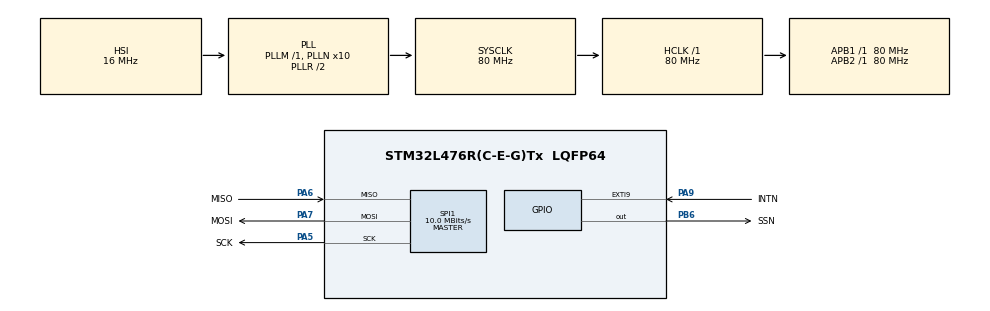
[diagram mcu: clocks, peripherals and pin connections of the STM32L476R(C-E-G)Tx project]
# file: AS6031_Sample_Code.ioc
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Mcu.Family=STM32L4
Mcu.Name=STM32L476R(C-E-G)Tx
Mcu.Package=LQFP64
NVIC.EXTI9_5_IRQn=true\:0\:0\:false\:false\:true\:true\:true\:true
NVIC.PriorityGroup=NVIC_PRIORITYGROUP_4
PA13\ (JTMS-SWDIO).GPIO_Label=TMS
PA13\ (JTMS-SWDIO).Mode=Serial_Wire
PA13\ (JTMS-SWDIO).Signal=SYS_JTMS-SWDIO
PA14\ (JTCK-SWCLK).GPIO_Label=TCK
PA14\ (JTCK-SWCLK).Mode=Serial_Wire
PA14\ (JTCK-SWCLK).Signal=SYS_JTCK-SWCLK
PA5.GPIO_Label=SCK
PA5.GPIO_PuPd=GPIO_PULLDOWN
PA5.GPIO_Speed=GPIO_SPEED_FREQ_HIGH
PA5.Mode=Full_Duplex_Master
PA5.Signal=SPI1_SCK
PA6.GPIO_Label=MISO
PA6.GPIO_PuPd=GPIO_PULLDOWN
PA6.GPIO_Speed=GPIO_SPEED_FREQ_HIGH
PA6.Mode=Full_Duplex_Master
PA6.Signal=SPI1_MISO
PA7.GPIO_Label=MOSI
PA7.GPIO_PuPd=GPIO_PULLDOWN
PA7.GPIO_Speed=GPIO_SPEED_FREQ_HIGH
PA7.Mode=Full_Duplex_Master
PA7.Signal=SPI1_MOSI
PA9.GPIO_Label=INTN
PA9.GPIO_ModeDefaultEXTI=GPIO_MODE_IT_RISING_FALLING
PA9.GPIO_PuPd=GPIO_NOPULL
PA9.Signal=GPXTI9
PB3\ (JTDO-TRACESWO).GPIO_Label=SWO
PB3\ (JTDO-TRACESWO).Signal=SYS_JTDO-SWO
PB6.GPIO_FM6=__NULL
PB6.GPIO_Label=SSN
PB6.GPIO_PuPd=GPIO_PULLUP
PB6.GPIO_Speed=GPIO_SPEED_FREQ_HIGH
PB6.PinState=GPIO_PIN_SET
PB6.Signal=GPIO_Output
ProjectManager.HeapSize=0x200
ProjectManager.StackSize=0x400
ProjectManager.TargetToolchain=STM32CubeIDE
RCC.ADCFreq_Value=64000000
RCC.AHBFreq_Value=80000000
RCC.APB1Freq_Value=80000000
RCC.APB1TimFreq_Value=80000000
RCC.APB2Freq_Value=80000000
RCC.APB2TimFreq_Value=80000000
RCC.CortexFreq_Value=80000000
RCC.HCLKFreq_Value=80000000
RCC.HSE_VALUE=8000000
RCC.HSI_VALUE=16000000
RCC.LSE_VALUE=32768
RCC.MSI_VALUE=4000000
RCC.PLLN=10
RCC.PLLSourceVirtual=RCC_PLLSOURCE_HSI
RCC.PREFETCH_ENABLE=1
RCC.SYSCLKFreq_VALUE=80000000
RCC.SYSCLKSource=RCC_SYSCLKSOURCE_PLLCLK
RCC.USBFreq_Value=64000000
RCC.VCOOutputFreq_Value=160000000
SPI1.BaudRatePrescaler=SPI_BAUDRATEPRESCALER_8
SPI1.CLKPhase=SPI_PHASE_2EDGE
SPI1.CalculateBaudRate=10.0 MBits/s
SPI1.DataSize=SPI_DATASIZE_8BIT
SPI1.Direction=SPI_DIRECTION_2LINES
SPI1.Mode=SPI_MODE_MASTER
SPI1.TIMode=SPI_TIMODE_DISABLE
SPI1.VirtualType=VM_MASTER
board=NUCLEO-L476RG

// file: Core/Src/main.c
/* USER CODE BEGIN Header */
/**
  ******************************************************************************
  * @file           : main.c
  * @brief          : Main program body
  ******************************************************************************
  * @attention
  *
  * Copyright (c) 2023 STMicroelectronics.
  * All rights reserved.
  *
  * This software is licensed under terms that can be found in the LICENSE file
  * in the root directory of this software component.
  * If no LICENSE file comes with this software, it is provided AS-IS.
  *
  ******************************************************************************
  */
/* USER CODE END Header */
#include "main.h"

/* USER CODE BEGIN Includes */
#include "user_spi_interface.c"
#include "user_tools.c"

#include "AS6031_Coding.h"

/* USER CODE END Includes */

SPI_HandleTypeDef hspi1;

/* USER CODE BEGIN PV */
AS6031_InitTypeDef DUT; // DUT = Device Under Test

volatile uint32_t  My_INTN_Counter = 0;
volatile uint8_t   My_INTN_State = 1;

volatile int value = 0;
volatile int addr = 0xC0;

volatile float     CLKLS_freq = 32768;             // LS Clock frequency in Hz
volatile float     CLKHS_freq = 4000000;           // HS Clock frequency in Hz
volatile float     CLKHS_freq_cal = 4000000;       // Calibrated HS Clock frequency in Hz
volatile float     CLKHS_freq_corr_fact = 1.000;   // Correction factor for HS Clock frequency

volatile float     RAW_Result = 0;                 // RAW Value in [LSB]
volatile float     Time_Result = 0;                // Result in [s]
volatile float     Time_Result_ns = 0;             // Result in [ns]

volatile float     RAW_CAL_Result = 0;             // RAW Value in [LSB]
volatile float     Time_CAL_Result = 0;            // Result in [s]
volatile float     Time_CAL_Result_ns = 0;         // Result in [ns]

uint8_t   spiRX[7];                       // used for readout of ID
volatile uint64_t  Bit_ID = 0;                     // contains individual ID[55:0] of GP22

volatile float     MAX_Cal_Time_Delay = 0;         // Max. measured calibrated time delay in [s]
volatile float     MAX_Cal_Time_Delay_ns = 0;      // Max. measured calibrated time delay in [ns]

volatile int       N_Measure_Cycles;               // counter for the while loop
volatile int       MAX_N_Measure_Cycles = 100;     // limit for the counter

// Configuration: using plastic spool piece plastic Audiowell New-Design, V-Shape
uint32_t  Reg[20] = {
		0x48DBA399,	// [0xC0] CR_WD_DIS
		0x00800401,	// [0xC1] CR_IFC_CTRL
		0x00111111,	// [0xC2] CR_GP_CTRL
		0x00000001,	// [0xC3] CR_USM_OPT
		0x010703FF,	// [0xC4] CR_IEH
		0x60060C08,	// [0xC5] CR_CPM
		0x01012100,	// [0xC6] CR_MRG_TS
		0x00240000,	// [0xC7] CR_TPM
		0x00680064,	// [0xC8] CR_USM_PRC
		0x60160202,	// [0xC9] CR_USM_FRC
		0x000FEA10,	// [0xCA] CR_USM_TOF
		0x00A7DE81,	// [0xCB] CR_USM_AM
		0x94A0C46C,	// [0xCC] CR_TRIM1
		0x401100C4,	// [0xCD] CR_TRIM2
		0x00A7400F,	// [0xCE] CR_TRIM3
		0x00000001,	// [0xD0] SHR_TOF_RATE
		0x00000D80,	// [0xD1] SHR_USM_RLS_DLY_U
		0x00000D80,	// [0xD2] SHR_USM_RLS_DLY_D
		0x00000041,	// [0xDA] SHR_ZCD_FHL_U
		0x00000041	// [0xDB] SHR_ZCD_FHL_D
};

// Configuration: using plastic spool piece plastic DN8
uint32_t  Reg2[20] = {
		0x48DBA399,	// [0xC0] CR_WD_DIS
		0x00800401,	// [0xC1] CR_IFC_CTRL
		0x00000000,	// [0xC2] CR_GP_CTRL
		0x00000001,	// [0xC3] CR_USM_OPT
		0x0011F7FF,	// [0xC4] CR_IEH
		0x6046EE08,	// [0xC5] CR_CPM
		0x01012100,	// [0xC6] CR_MRG_TS
		0x00E40000,	// [0xC7] CR_TPM
		0x04690564,	// [0xC8] CR_USM_PRC
		0x601E0202,	// [0xC9] CR_USM_FRC
		0x010FEA4E,	// [0xCA] CR_USM_TOF
		0x2320DE61,	// [0xCB] CR_USM_AM
		0x94A0C46C,	// [0xCC] CR_TRIM1
		0x401100C4,	// [0xCD] CR_TRIM2
		0x00A7400F,	// [0xCE] CR_TRIM3
		0x00000001,	// [0xD0] SHR_TOF_RATE
		0x00000ED8,	// [0xD1] SHR_USM_RLS_DLY_U
		0x00000ED8,	// [0xD2] SHR_USM_RLS_DLY_D
		0x00000028,	// [0xDA] SHR_ZCD_FHL_U
		0x00000028	// [0xDB] SHR_ZCD_FHL_D
};

// Firmware Code: <AS6031_AS6040_A1.F1.11.01_DIF_over_PI_sim.hex>
uint8_t FWC[] = {
		0x00, 0x00, 0x00, 0x00, 0x00, 0x00, 0x00, 0x00, 0x00, 0x00, 0x00, 0x00, 0x00, 0x00, 0x00, 0x00,
		0x00, 0x00, 0x00, 0x00, 0x00, 0x00, 0x00, 0x00, 0x00, 0x00, 0x00, 0x00, 0x00, 0x00, 0x00, 0x00,
		0xA1, 0xF1, 0x11, 0x01, 0xF2, 0xDC, 0x61, 0x1B, 0x64, 0x16, 0xF2, 0xDC, 0x61, 0x13, 0x64, 0x31,
		0xF2, 0xDC, 0x61, 0x23, 0x64, 0x2E, 0xF2, 0xDC, 0x61, 0x2B, 0x64, 0x76, 0xC9, 0x01, 0x1D, 0xF2,
		0xE2, 0x61, 0x37, 0xC9, 0x01, 0x1D, 0xB8, 0x77, 0xF2, 0x80, 0x2D, 0xF2, 0x84, 0x37, 0x7D, 0xCA,
		0x00, 0x66, 0xF2, 0xC1, 0x61, 0x43, 0xCA, 0xF9, 0x11, 0xF2, 0xDD, 0xF1, 0xAB, 0xC9, 0x01, 0x1D,
		0xC9, 0x01, 0x1D, 0xC9, 0x01, 0x1D, 0xF2, 0x80, 0x77, 0xF2, 0x84, 0x7B, 0x88, 0x73, 0xCB, 0x74,
		0xF2, 0xA5, 0x7D, 0x76, 0x88, 0x73, 0xCB, 0x74, 0xF2, 0xA6, 0x7D, 0xF2, 0xA6, 0x73, 0xF2, 0xA5,
		0x33, 0x87, 0x7C, 0xF3, 0x03, 0x77, 0x34, 0x71, 0xF3, 0x05, 0x0F, 0x4B, 0x13, 0x5D, 0x73, 0xF3,
		0x04, 0x13, 0x4D, 0x73, 0xF2, 0x5E, 0x77, 0xCB, 0x54, 0xCA, 0xFD, 0x67, 0x75, 0x3B, 0x9A, 0xCA,
		0x00, 0xCB, 0x54, 0xCA, 0xFD, 0x67, 0xF3, 0x02, 0x77, 0xCB, 0x54, 0xCA, 0xFD, 0x67, 0x82, 0x7C,
		0xCF, 0xF3, 0x67, 0x73, 0xF2, 0xD1, 0x7C, 0xF2, 0xD2, 0x7C, 0xF2, 0x5F, 0x7F, 0x00, 0x3D, 0x09,
		0x00, 0xF2, 0x5E, 0x7F, 0x00, 0x00, 0x04, 0x31, 0xF2, 0xC5, 0x62, 0x03, 0xF2, 0x5F, 0xD3, 0xF2,
		0xC5, 0x62, 0x03, 0xF2, 0x5E, 0xC3, 0xF2, 0xCA, 0x73, 0xCB, 0x80, 0x00, 0x00, 0x1F, 0x00, 0xCE,
		0x70, 0x88, 0x7C, 0xF2, 0xC6, 0x73, 0xCB, 0x80, 0x00, 0x00, 0x1F, 0xFF, 0x09, 0xCB, 0xA5, 0x00,
		0x00, 0x00, 0x1F, 0xF2, 0xD0, 0x7B, 0xCB, 0x86, 0xCB, 0x54, 0xCE, 0x58, 0xF2, 0xE3, 0x63, 0x47,
		0x75, 0x00, 0x01, 0x06, 0x24, 0xCB, 0x54, 0xCA, 0xFD, 0x67, 0xF2, 0x9E, 0x7C, 0xF3, 0x5B, 0x73,
		0xF3, 0x5C, 0x77, 0xF2, 0x9E, 0x7B, 0xCA, 0xF3, 0x1C, 0x8A, 0x7C, 0x64, 0x01, 0xF2, 0xDC, 0x0B,
		0xCD
};

int FWC_Length = sizeof(FWC);  // Calculates the size of the array in bytes.

/* USER CODE END PV */

void SystemClock_Config(void);
static void MX_GPIO_Init(void);
static void MX_SPI1_Init(void);

int main(void)
{

  /* MCU Configuration--------------------------------------------------------*/

  /* Reset of all peripherals, Initializes the Flash interface and the Systick. */
  HAL_Init();

  /* Configure the system clock */
  SystemClock_Config();

  /* Initialize all configured peripherals */
  MX_GPIO_Init();
  MX_SPI1_Init();
  /* USER CODE BEGIN 2 */

  /* PIN Assignment of STM32L476:
   * SPI1_MOSI PA7
   * SPI1_MISO PA6
   * SPI1_SCK  PA5
   * SPI1_SSN  PB6
   *
   * INTN      PA9
   */

/*
  // Set configuration registers
  DUT.CR[0] = 0xF3076010;
  DUT.CR[1] = 0x01410032;
  DUT.CR[2] = 0xA0000054;
  DUT.CR[3] = 0x00000076;
  DUT.CR[4] = 0x10000098;
  DUT.CR[5] = 0x000000BA;
  DUT.CR[6] = 0x400000DC;

  AS6031_Update_Param(&DUT);
*/

  AS6031_Init_CFG(&DUT, Reg);

  // Reset DUT
  Write_Opcode(RC_SYS_RST);
  DUT.State = AS6031_STATE_RESET;

  HAL_Delay(3); // Datasheet -> Delay = 1ms... BUT at least 3ms are needed _MH

  // Write Configuration (0xC0 - 0xCE, 0xD0 - 0xD2, 0xDA - 0xDB)
  int offset = 0;
  int i, j = 0;

  for (i = 0; i <= 19; i++) {
	  if (i == 0) {
		  offset = 0xC0;
		  j = 0;
	  }
	  if (i == 15) {
		  offset = 0xD0;
		  j = 0;
	  }
	  if (i == 18) {
		  offset = 0xDA;
		  j = 0;
	  }
	  Write_Dword(RC_RAA_WR, (offset+j), DUT.CR[i]);
	  j++;
  }

  Write_Opcode(RC_MCT_ON);

/*
  for (i = 0; i < 200; i++) {
	  // update CR9 register with new parameter
	  DUT.Param.CR9.FBG_CLK_DIV = (addr);
	  AS6031_Update_CFG(&DUT); // Function to update CFG for uploading into DUT!

	  Write_Dword(RC_RAA_WR, 0xC9, DUT.CR[9]); // Write Register into AS6031!
	  i++;
  }
*/

/*
  // update CR5 register with new parameter
  DUT.Param.CR5.HSC_DIV_MODE = 1; // Recommended setting for 8MHz
  DUT.Param.CR5.HSC_DIV = 1; // Recommended setting for 8MHz

  AS6031_Update_CFG(&DUT); // Function to update CFG for uploading into DUT!

  Write_Dword(RC_RAA_WR, 0xC5, DUT.CR[5]); // Write Register into AS6031!
*/

  // FW Handling Procedures
  // Datasheet Appendix, section 15.7
  // Phase 1: Wait time (dependent on start option)
  // Phase 2: Preparation (common for all procedures)
  // Phase 3: FW Update (different for procedures [A], [B], [C], [D] )
  // Phase 4: FW Retention Check (common for all procedures)

  // Phase1: Initial Wait Time
  Write_Opcode(RC_SYS_RST);
  DUT.State = AS6031_STATE_RESET;

  HAL_Delay(3);

  // Phase 2: Preparation
  Write_Opcode(RC_BM_REQ);
  Write_Dword(RC_RAA_WR, 0xC0, 0x48DBA399);
  Write_Dword(RC_RAA_WR, 0xCD, 0x40100000);
  Write_Dword(RC_RAA_WR, 0xC6, 0x00001000);
  Write_Opcode(RC_SV_INIT);
  Write_Opcode(RC_MCT_OFF);
  HAL_Delay(1);
  Write_Opcode2(RC_MT_REQ, 0x00);
  HAL_Delay(1);
  Write_Dword(RC_RAA_WR, 0xDD, 0x00000007);
  Write_Opcode(RC_RF_CLR);
  Write_Dword(RC_RAA_WR, 0xC4, 0x000AF000);
  Write_Opcode(RC_BM_RLS);

  Write_Dword(RC_RAA_WR, 0xDF, 0x50F5B8CA);
  Write_Dword(RC_RAA_WR, 0xDE, 0x00100000);
  while(Read_Dword_Bits(RC_RAA_RD, 0xE0, 1, 1) == 0) {};
  Write_Dword(RC_RAA_WR, 0xDE, 0x00080000);
  while(Read_Dword_Bits(RC_RAA_RD, 0xE0, 1, 1) == 0) {};

  // Phase 3: FW Update
  Read_Dword(RC_RAA_RD, 0xEC);

  // Write FWC
  for (i = 32; i <= FWC_Length; i++) {
	  Write_Byte2(RC_FWC_WR, i, FWC[i]);  // Writing FWC, bytewise with two byte address
  }

  // Write FWD
  Write_Dword(RC_RAA_WR_NVRAM, 0x00, 0x0000AB6A); // Writing Firmware Code User, Checksum
  Write_Dword(RC_RAA_WR_NVRAM, 0x01, 0x00000556); // Writing Firmware Data User, Checksum
  Write_Dword(RC_RAA_WR_NVRAM, 0x02, 0x00010000); // Writing FWD_SIMPLE_SCALE (fd16)
  Write_Dword(RC_RAA_WR_NVRAM, 0x03, 0x00000000); // Writing FWD_ZERO_OFFSET
  Write_Dword(RC_RAA_WR_NVRAM, 0x04, 0x051EB852); // Writing FWD_MAX_TOF_DIFF
  Write_Dword(RC_RAA_WR_NVRAM, 0x05, 0xFAE147AE); // Writing FWD_NEG_TOF_DIFF_LIMIT

  Write_Dword(RC_RAA_WR_NVRAM, 0x5B, 0x0000000A); // Writing FWD_R_PULSE_PER_LITER
  Write_Dword(RC_RAA_WR_NVRAM, 0x5C, 0x000003E8); // Writing FWD_R_PULSE_MAX_FLOW

  Write_Dword(RC_RAA_WR_NVRAM, 0x67, 0x00000000); // Writing FWD_USM_RLS_DLY_INIT

  Write_Dword(RC_RAA_WR_NVRAM, 0x6B, 0xABCD7654); // Writing Boot-Loader Release Code

  // Update Config 0x6C ... 0x77 in NVRAM
  // without CR_TRIMx and without SHR_...
  //Write_Dword(RC_RAA_WR_NVRAM, 0x6C, 0x48DBA399); // CR_WD_DIS Watchdog Disable
  //Write_Dword(RC_RAA_WR_NVRAM, 0x6D, 0x00800101); // CR_IFC_CTRL Interfaces Control
  //Write_Dword(RC_RAA_WR_NVRAM, 0x6E, 0x00100044); // CR_GP_CTRL General Purpose Control
  //Write_Dword(RC_RAA_WR_NVRAM, 0x6F, 0x20000003); // CR_USM_OPT USM Options
  //Write_Dword(RC_RAA_WR_NVRAM, 0x70, 0x001002A7); // CR_IEH Interrupt & Error Handling
  //Write_Dword(RC_RAA_WR_NVRAM, 0x71, 0x2046EE08); // CR_CPM Clock & Power Management
  //Write_Dword(RC_RAA_WR_NVRAM, 0x72, 0x0101A080); // CR_MRG_TS Measure Rate Generator & Task Sequencer
  //Write_Dword(RC_RAA_WR_NVRAM, 0x73, 0x00140000); // CR_TPM Temperature Measurement
  //Write_Dword(RC_RAA_WR_NVRAM, 0x74, 0x207807A4); // CR_USM_PRC USM Processing
  //Write_Dword(RC_RAA_WR_NVRAM, 0x75, 0x60150202); // CR_USM_FRC USM Fire & Receive Control
  //Write_Dword(RC_RAA_WR_NVRAM, 0x76, 0x00002A0E); // CR_USM_TOF Time Of Flight Rate init value
  //Write_Dword(RC_RAA_WR_NVRAM, 0x77, 0x23209E71); // CR_USM_AM Amplitude and FHL

  Write_Dword(RC_RAA_WR, 0xDF, 0x50F5B8CA);
  Write_Dword(RC_RAA_WR, 0xDE, 0x00010000);
  while(Read_Dword_Bits(RC_RAA_RD, 0xE0, 1, 1) == 0) {};

  // Phase 4: FW Retention Check
  Write_Dword(RC_RAA_WR, 0xDF, 0x50F5B8CA);
  Write_Dword(RC_RAA_WR, 0xDE, 0x00100000);
  while(Read_Dword_Bits(RC_RAA_RD, 0xE0, 1, 1) == 0) {};
  Write_Dword(RC_RAA_WR, 0xDE, 0x00080000);
  while(Read_Dword_Bits(RC_RAA_RD, 0xE0, 1, 1) == 0) {};
  Write_Dword(RC_RAA_WR,  0xD3, 0x0007F000);
  HAL_Delay(offset); // After initialization checksum error flags, delay of at least 34ms are needed _MH
  Write_Opcode(RC_FW_CHKSUM);
  while(Read_Dword_Bits(RC_RAA_RD, 0xE0, 3, 3) == 0) {};
  Read_Dword(RC_RAA_RD, 0xD3);

  // END
  Write_Opcode(RC_SYS_RST);

  /* USER CODE END 2 */

  /* Infinite loop */
  while (1)
  {

    /* USER CODE BEGIN 3 */
	  N_Measure_Cycles++;

	  // Wait for INTN
	  // NVIC Functionality to increase the speed of MCU
	  while ( (My_INTN_State==1)) { }; //timeout is missing

	  // Post Processing

	  //RAW_Result = Read_Dword(RC_RAA_RD, 0x80);  // FDB_US_TOF_SUM_OF_ALL_U
	  //RAW_Result = Read_Dword(RC_RAA_RD, 0x84);  // FDB_US_TOF_SUM_OF_ALL_D
	  //RAW_Result /= DUT.Param.CR10.TOF_HIT_SUM_NO;  // Divided by number of hits

	  RAW_Result = Read_Dword(RC_RAA_RD, 0x88);  // FDB_US_TOF_0_U

	  RAW_Result /= 65536;  //divided by 2^16
	  Time_Result = RAW_Result * 250 *(1e-9);

	  Time_Result_ns = TIME_ns(Time_Result); // result in [ns]

	  // Clear INTN
	  Write_Opcode(RC_IF_CLR);

	  HAL_Delay(50); // used for debugging

  }
  /* USER CODE END 3 */
}

void SystemClock_Config(void)
{
  RCC_OscInitTypeDef RCC_OscInitStruct = {0};
  RCC_ClkInitTypeDef RCC_ClkInitStruct = {0};

  /** Configure the main internal regulator output voltage
  */
  if (HAL_PWREx_ControlVoltageScaling(PWR_REGULATOR_VOLTAGE_SCALE1) != HAL_OK)
  {
    Error_Handler();
  }

  /** Initializes the RCC Oscillators according to the specified parameters
  * in the RCC_OscInitTypeDef structure.
  */
  RCC_OscInitStruct.OscillatorType = RCC_OSCILLATORTYPE_HSI;
  RCC_OscInitStruct.HSIState = RCC_HSI_ON;
  RCC_OscInitStruct.HSICalibrationValue = RCC_HSICALIBRATION_DEFAULT;
  RCC_OscInitStruct.PLL.PLLState = RCC_PLL_ON;
  RCC_OscInitStruct.PLL.PLLSource = RCC_PLLSOURCE_HSI;
  RCC_OscInitStruct.PLL.PLLM = 1;
  RCC_OscInitStruct.PLL.PLLN = 10;
  RCC_OscInitStruct.PLL.PLLP = RCC_PLLP_DIV7;
  RCC_OscInitStruct.PLL.PLLQ = RCC_PLLQ_DIV2;
  RCC_OscInitStruct.PLL.PLLR = RCC_PLLR_DIV2;
  if (HAL_RCC_OscConfig(&RCC_OscInitStruct) != HAL_OK)
  {
    Error_Handler();
  }

  /** Initializes the CPU, AHB and APB buses clocks
  */
  RCC_ClkInitStruct.ClockType = RCC_CLOCKTYPE_HCLK|RCC_CLOCKTYPE_SYSCLK
                              |RCC_CLOCKTYPE_PCLK1|RCC_CLOCKTYPE_PCLK2;
  RCC_ClkInitStruct.SYSCLKSource = RCC_SYSCLKSOURCE_PLLCLK;
  RCC_ClkInitStruct.AHBCLKDivider = RCC_SYSCLK_DIV1;
  RCC_ClkInitStruct.APB1CLKDivider = RCC_HCLK_DIV1;
  RCC_ClkInitStruct.APB2CLKDivider = RCC_HCLK_DIV1;

  if (HAL_RCC_ClockConfig(&RCC_ClkInitStruct, FLASH_LATENCY_4) != HAL_OK)
  {
    Error_Handler();
  }
}

static void MX_SPI1_Init(void)
{

  /* SPI1 parameter configuration*/
  hspi1.Instance = SPI1;
  hspi1.Init.Mode = SPI_MODE_MASTER;
  hspi1.Init.Direction = SPI_DIRECTION_2LINES;
  hspi1.Init.DataSize = SPI_DATASIZE_8BIT;
  hspi1.Init.CLKPolarity = SPI_POLARITY_LOW;
  hspi1.Init.CLKPhase = SPI_PHASE_2EDGE;
  hspi1.Init.NSS = SPI_NSS_SOFT;
  hspi1.Init.BaudRatePrescaler = SPI_BAUDRATEPRESCALER_8;
  hspi1.Init.FirstBit = SPI_FIRSTBIT_MSB;
  hspi1.Init.TIMode = SPI_TIMODE_DISABLE;
  hspi1.Init.CRCCalculation = SPI_CRCCALCULATION_DISABLE;
  hspi1.Init.CRCPolynomial = 7;
  hspi1.Init.CRCLength = SPI_CRC_LENGTH_DATASIZE;
  hspi1.Init.NSSPMode = SPI_NSS_PULSE_DISABLE;
  if (HAL_SPI_Init(&hspi1) != HAL_OK)
  {
    Error_Handler();
  }

}

static void MX_GPIO_Init(void)
{
  GPIO_InitTypeDef GPIO_InitStruct = {0};

  /* GPIO Ports Clock Enable */
  __HAL_RCC_GPIOA_CLK_ENABLE();
  __HAL_RCC_GPIOB_CLK_ENABLE();

  /*Configure GPIO pin Output Level */
  HAL_GPIO_WritePin(SSN_GPIO_Port, SSN_Pin, GPIO_PIN_SET);

  /*Configure GPIO pin : INTN_Pin */
  GPIO_InitStruct.Pin = INTN_Pin;
  GPIO_InitStruct.Mode = GPIO_MODE_IT_RISING_FALLING;
  GPIO_InitStruct.Pull = GPIO_NOPULL;
  HAL_GPIO_Init(INTN_GPIO_Port, &GPIO_InitStruct);

  /*Configure GPIO pin : SSN_Pin */
  GPIO_InitStruct.Pin = SSN_Pin;
  GPIO_InitStruct.Mode = GPIO_MODE_OUTPUT_PP;
  GPIO_InitStruct.Pull = GPIO_PULLUP;
  GPIO_InitStruct.Speed = GPIO_SPEED_FREQ_HIGH;
  HAL_GPIO_Init(SSN_GPIO_Port, &GPIO_InitStruct);

  /* EXTI interrupt init*/
  HAL_NVIC_SetPriority(EXTI9_5_IRQn, 0, 0);
  HAL_NVIC_EnableIRQ(EXTI9_5_IRQn);

}

/* USER CODE BEGIN 4 */
void HAL_GPIO_EXTI_Callback(uint16_t GPIO_Pin)
{
	/* stm32l4xx_hal_gpio.c */

	/* Prevent unused argument(s) compilation warning */
	UNUSED(GPIO_Pin);

	// Note: It takes about 1us after INTN

	if (GPIO_Pin == INTN_Pin) {
		My_INTN_State = (HAL_GPIO_ReadPin(INTN_GPIO_Port, INTN_Pin) == GPIO_PIN_SET); /* low active */
		if (My_INTN_State == 0) {
			My_INTN_Counter += 1;
		}
	}

}

/* USER CODE END 4 */

void Error_Handler(void)
{
  __disable_irq();
  while (1)
  {
  }
}
